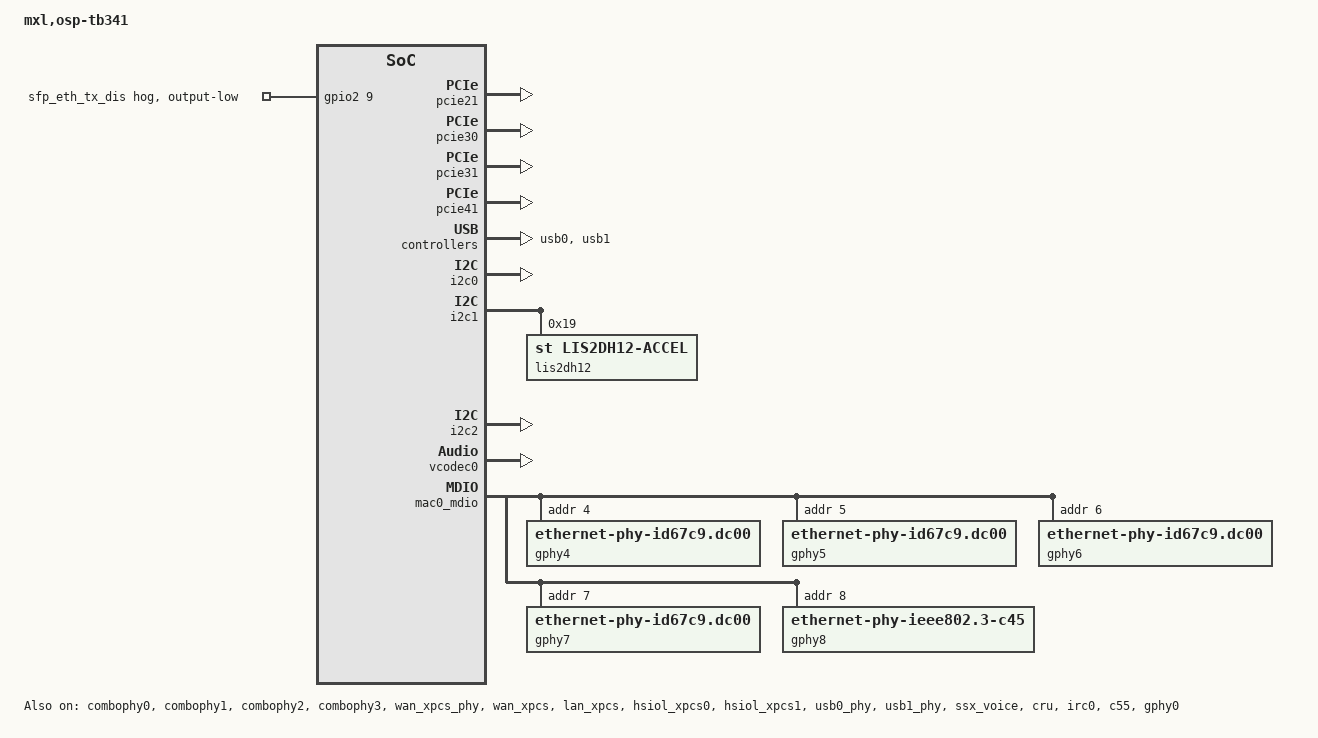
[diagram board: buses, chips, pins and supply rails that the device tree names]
// SPDX-License-Identifier: GPL-2.0
/*
 * Copyright (C) 2020-2022 MaxLinear, Inc.
 * Copyright (C) 2019-2020 Intel Corporation.
 *
 * This program is free software; you can redistribute it and/or modify it
 * under the terms of the GNU General Public License, as published by the Free
 * Software Foundation; either version 2 of the License, or (at your option)
 * any later version.
 *
 * This program is distributed in the hope that it will be useful, but WITHOUT
 * ANY WARRANTY; without even the implied warranty of MERCHANTABILITY or
 * FITNESS FOR A PARTICULAR PURPOSE.
 * See the GNU General Public License for more details.
 *
 * You should have received a copy of the GNU General Public License along
 * with this program; if not, see <http://www.gnu.org/licenses/>.
 */

/dts-v1/;
#include <dt-bindings/thermal/thermal.h>

#include "osp_tb341.dtsi"
#include "lgp_thermal_no_fan_big_heatsink.dtsi"

/ {
	model = "mxl,osp-tb341";

	chosen {
		/* ramfs */
		bootargs = "earlycon console=ttyLTQ0,115200n8r root=/dev/ram init=/init maxcpus=4 initcall_debug=0 clk_ignore_unused loglevel=8";
		stdout-path = "serial0";
	};

	wan {
		ifname = "eth1";
	};
};

&gpio2 {
	sfp_eth_tx_disable {
		gpio-hog;
		gpios = <9 GPIO_ACTIVE_HIGH>;
		output-low;
		line-name = "sfp_eth_tx_dis";
	};
};

&toe_dma30 {
	status = "okay";
};

&toe_dma31 {
	status = "okay";
};

/* combo PHY setting */
/* combo phy 0 */
&combophy0 {
	status = "okay";
};

/* combo phy 1 */
&combophy1 {
	status = "okay";
};

/* combo phy 2 */
&combophy2 {
	status = "okay";
};

/* combo phy 3 */
&combophy3 {
	status = "okay";
};

&wan_xpcs_phy {
	status = "okay";
};

/* XPCS setting */
&wan_xpcs {
	status = "okay";
};

&lan_xpcs {
	status = "okay";
};

&hsiol_xpcs0 {
	status = "okay";
};

&hsiol_xpcs1 {
	status = "okay";
};

&pcie20 { /* M2_KeyB */
	status = "disabled";
};

&pcie21 { /* M2_KeyB */
	status = "okay";
};

&pcie30 { /* WIFI - 615(2.4G) */ 
	status = "okay";
};

&pcie31 { /* WIFI - 665(6G) */ 
	status = "okay";
};

&pcie40 { /* DSL - VRX619 */ 
	status = "disabled";
};

&pcie41 { /* WIFI - 665(5G) */ 
	status = "okay";
};

&usb0_phy {
	status = "okay";
	vbus-supply = <&usb0_vbus>;
	/* extcon = <&ptn5150_1>; */
};

&usb0 {
	status = "okay";
};

&usb1_phy {
	status = "okay";
	vbus-supply = <&usb1_vbus>;
};

&usb1 {
	status = "okay";
};

&i2c0 {
	status = "okay";
};

&i2c1 {
	status = "okay";
	lis2dh12@19 {
		compatible = "st,lis2dh12-accel";
		reg = <0x19>;
	};
};

&i2c2 {
	status = "okay";
};

&i2c3 {
	status = "disabled";
};

/******************************************************************************
 ** Board configuration: Voice subsystem settings
 ******************************************************************************/

&ssx_voice {
	status = "okay";
};

&cru {
	status = "okay";
};

&intc {
	status = "okay";
};

&irc0 { /* vcodec0 irq */
	status = "okay";
};

&c55 {
	status = "okay";
};

&vcodec0 {
	status = "okay";
};


&pwm {
	status = "disabled";
    intel,fan-wire = <2>;
    pinctrl-names = "default";
    pinctrl-0 = <&pinctrl_fan_ctrl_in_1 &pinctrl_fan_ctrl_out>;
};

&fan0 {
	status = "disabled";
	pwms = <&pwm 0 40000>;
	#cooling-cells = <2>;
	cooling-levels = <0 30 80 120 150 170 200 220 255>;
};

/******************************************************************************
 ** TB341 Board configuration: Ethernet Phy and Network Subsystem
 ******************************************************************************/
&mac0_mdio {
	mdc-clkdiv = <62>;	// 6.4516Mhz

	gphy4: ethernet-phy@4 {
		reg = <0x4>;
		/* Gphy is not up yet at initial probe.
		 * We set the phy-id here to avoid early
		 * mdio-scan at that point.
		 */
		compatible = "ethernet-phy-id67c9.dc00";
		interrupt-parent = <&ioapic1>;
		/*interrupts = <GIC_SHARED 126 IRQ_TYPE_LEVEL_HIGH>;*/
		status = "okay";
	};
	gphy5: ethernet-phy@5 {
		reg = <0x5>;
		/* Gphy is not up yet at initial probe.
		 * We set the phy-id here to avoid early
		 * mdio-scan at that point.
		 */
		compatible = "ethernet-phy-id67c9.dc00";
		interrupt-parent = <&ioapic1>;
		/*interrupts = <GIC_SHARED 126 IRQ_TYPE_LEVEL_HIGH>;*/
		status = "okay";
	};
	gphy6: ethernet-phy@6 {
		reg = <0x6>;
		/* Gphy is not up yet at initial probe.
		 * We set the phy-id here to avoid early
		 * mdio-scan at that point.
		 */
		compatible = "ethernet-phy-id67c9.dc00";
		interrupt-parent = <&ioapic1>;
		/*interrupts = <GIC_SHARED 126 IRQ_TYPE_LEVEL_HIGH>;*/
		status = "okay";
	};
	gphy7: ethernet-phy@7 {
		reg = <0x7>;
		/* Gphy is not up yet at initial probe.
		 * We set the phy-id here to avoid early
		 * mdio-scan at that point.
		 */
		compatible = "ethernet-phy-id67c9.dc00";
		interrupt-parent = <&ioapic1>;
		/*interrupts = <GIC_SHARED 126 IRQ_TYPE_LEVEL_HIGH>;*/
		status = "okay";
	};
	
	gphy8: ethernet-phy@8 {
		reg = <0x8>;
		compatible = "ethernet-phy-ieee802.3-c45";
		status = "okay";
	};
};

&gphy0 {
	reg = <0x0>;
	compatible = "ethernet-phy-ieee802.3-c45";
	status = "okay";
};
&lan0 {
	phy = <&gphy0>;
};
&lan2 {
	phy = <&gphy4>;
};
&lan3 {
	phy = <&gphy5>;
};
&lan4 {
	phy = <&gphy6>;
};
&lan5 {
	phy = <&gphy7>;
};
&p34x {
	phyaddr = <4>;
};
&gphy1 {
	status = "disabled";
};
&gphy2 {
	status = "disabled";
};
&gphy3 {
	status = "disabled";
};
